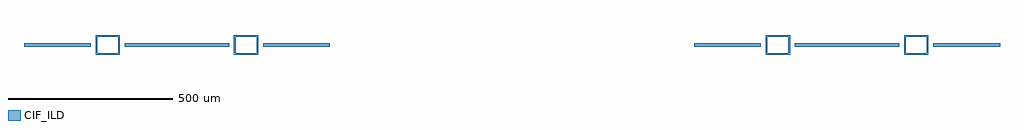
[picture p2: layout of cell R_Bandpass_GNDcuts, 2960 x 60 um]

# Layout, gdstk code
import gdstk
lib = gdstk.Library(unit=1e-6, precision=1e-09)
def R(c, l, rs):  # rectangles x0, y0, x1, y1
    for r in rs: c.add(gdstk.rectangle(r[:2], r[2:], *l))
def P(c, l, *ps):  # polygons
    for p in ps: c.add(gdstk.Polygon(p, *l))
CIF_ILD = (5, 0)

r_bandpass_gndcuts = lib.new_cell('R_Bandpass_GNDcuts')
R(r_bandpass_gndcuts, CIF_ILD, [(-1480,-105,-1278.1,-95), (-1174.1,-105,-858.2,-95), (-754.2,-105,-552.3,-95), (552.3,-105,754.2,-95), (858.2,-105,1174.1,-95), (1278.1,-105,1480,-95)])
P(r_bandpass_gndcuts, CIF_ILD, [(1189.1,-130),(1189.1,-70),(1263.1,-70),(1263.1,-127.5),(1258.1,-127.5),(1258.1,-75),(1194.1,-75),(1194.1,-125),(1263.1,-125),(1263.1,-130)],
  [(769.2,-130),(769.2,-70),(843.2,-70),(843.2,-127.5),(838.2,-127.5),(838.2,-75),(774.2,-75),(774.2,-125),(843.2,-125),(843.2,-130)],
  [(-1263.1,-130),(-1263.1,-125),(-1194.1,-125),(-1194.1,-75),(-1258.1,-75),(-1258.1,-127.5),(-1263.1,-127.5),(-1263.1,-70),(-1189.1,-70),(-1189.1,-130)],
  [(-843.2,-130),(-843.2,-125),(-774.2,-125),(-774.2,-75),(-838.2,-75),(-838.2,-127.5),(-843.2,-127.5),(-843.2,-70),(-769.2,-70),(-769.2,-130)])

lib.write_gds('R_Bandpass_GNDcuts.gds')
